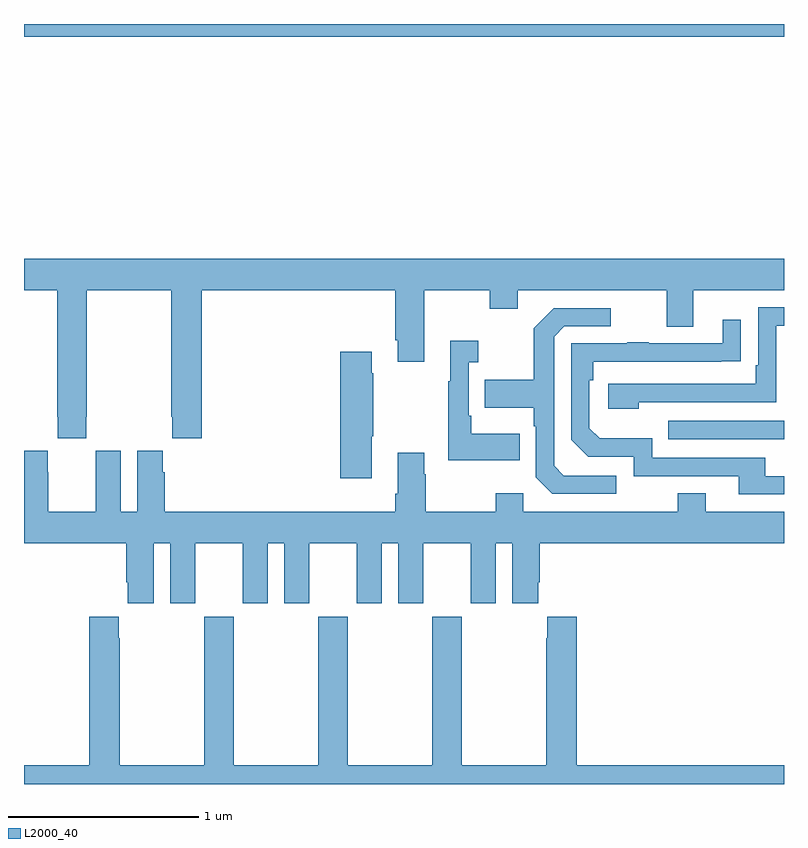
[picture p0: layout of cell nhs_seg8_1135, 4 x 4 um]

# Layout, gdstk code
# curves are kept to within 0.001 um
import gdstk
lib = gdstk.Library(unit=1e-6, precision=1e-09)
def R(c, l, rs):  # rectangles x0, y0, x1, y1
    for r in rs: c.add(gdstk.rectangle(r[:2], r[2:], *l))
def P(c, l, *ps):  # polygons
    for p in ps: c.add(gdstk.Polygon(p, *l))
L2000_40 = (2000, 40)

nhs_seg8_1135 = lib.new_cell('nhs_seg8_1135')
R(nhs_seg8_1135, L2000_40, [(186.391,1115.715,187,1115.811), (183,1117.832,187,1117.9)])
P(nhs_seg8_1135, L2000_40, [(183.327,1115.833),(183.33,1115.833),(183.33,1116.5),(183.775,1116.5),(183.775,1115.833),(183.781,1115.833),(183.781,1115.721),(183.935,1115.721),(183.935,1116.5),(184.955,1116.5),(184.955,1116.235),(184.967,1116.235),(184.967,1116.123),(185.107,1116.123),(185.107,1116.5),(185.452,1116.5),(185.452,1116.401),(185.599,1116.401),(185.599,1116.5),(186.383,1116.5),(186.383,1116.306),(186.523,1116.306),(186.523,1116.5),(187,1116.5),(187,1116.664),(183,1116.664),(183,1116.5),(183.175,1116.5),(183.175,1115.833),(183.177,1115.833),(183.177,1115.721),(183.327,1115.721)],
  [(186.236,1115.91),(186.96,1115.91),(186.96,1116.312),(187,1116.312),(187,1116.408),(186.864,1116.408),(186.864,1116.103),(186.851,1116.103),(186.851,1116.006),(186.075,1116.006),(186.075,1115.876),(186.236,1115.876)],
  [(186.118,1115.523),(185.841,1115.523),(185.79,1115.574),(185.79,1116.255),(185.844,1116.309),(186.088,1116.309),(186.088,1116.405),(185.787,1116.405),(185.682,1116.299),(185.682,1116.027),(185.425,1116.027),(185.425,1115.879),(185.682,1115.879),(185.682,1115.783),(185.694,1115.783),(185.694,1115.514),(185.781,1115.427),(186.118,1115.427)],
  [(187,1115.52),(186.901,1115.52),(186.901,1115.616),(186.306,1115.616),(186.306,1115.719),(186.029,1115.719),(185.976,1115.772),(185.976,1116.026),(185.996,1116.026),(185.996,1116.123),(186.773,1116.124),(186.773,1116.343),(186.677,1116.343),(186.677,1116.219),(186.287,1116.219),(186.287,1116.224),(186.175,1116.224),(186.175,1116.219),(185.88,1116.219),(185.88,1115.712),(185.97,1115.622),(186.21,1115.622),(186.21,1115.52),(186.761,1115.52),(186.761,1115.424),(187,1115.424)],
  [(185.609,1115.743),(185.353,1115.743),(185.353,1115.839),(185.34,1115.839),(185.34,1116.119),(185.392,1116.119),(185.392,1116.232),(185.243,1116.232),(185.243,1116.019),(185.232,1116.019),(185.232,1115.603),(185.609,1115.603)],
  [(184.831,1115.731),(184.839,1115.731),(184.839,1116.062),(184.831,1116.062),(184.831,1116.175),(184.664,1116.175),(184.664,1115.508),(184.831,1115.508)],
  [(183.682,1115.168),(183.77,1115.168),(183.77,1114.851),(183.901,1114.851),(183.901,1115.168),(184.151,1115.168),(184.151,1114.851),(184.282,1114.851),(184.282,1115.168),(184.37,1115.168),(184.37,1114.851),(184.501,1114.851),(184.501,1115.168),(184.751,1115.168),(184.751,1114.851),(184.882,1114.851),(184.882,1115.168),(184.97,1115.168),(184.97,1114.851),(185.101,1114.851),(185.101,1115.168),(185.351,1115.168),(185.351,1114.851),(185.482,1114.851),(185.482,1115.168),(185.57,1115.168),(185.57,1114.851),(185.707,1114.851),(185.707,1114.963),(185.714,1114.963),(185.714,1115.168),(187,1115.168),(187,1115.332),(186.589,1115.332),(186.589,1115.431),(186.442,1115.431),(186.442,1115.332),(185.628,1115.332),(185.628,1115.431),(185.482,1115.431),(185.482,1115.332),(185.115,1115.332),(185.115,1115.531),(185.107,1115.531),(185.107,1115.644),(184.967,1115.644),(184.967,1115.428),(184.955,1115.428),(184.955,1115.332),(183.74,1115.332),(183.74,1115.54),(183.73,1115.54),(183.73,1115.653),(183.596,1115.653),(183.596,1115.332),(183.508,1115.332),(183.508,1115.653),(183.378,1115.653),(183.378,1115.54),(183.377,1115.54),(183.377,1115.332),(183.127,1115.332),(183.127,1115.54),(183.126,1115.54),(183.126,1115.653),(183,1115.653),(183,1115.168),(183.539,1115.168),(183.539,1114.963),(183.545,1114.963),(183.545,1114.851),(183.682,1114.851)],
  [(187,1114),(185.909,1114),(185.909,1114.78),(185.753,1114.78),(185.753,1114.667),(185.749,1114.667),(185.749,1114),(185.304,1114),(185.304,1114.78),(185.149,1114.78),(185.149,1114),(184.704,1114),(184.704,1114.78),(184.549,1114.78),(184.549,1114),(184.104,1114),(184.104,1114.78),(183.949,1114.78),(183.949,1114),(183.504,1114),(183.504,1114.667),(183.499,1114.667),(183.499,1114.78),(183.344,1114.78),(183.344,1114),(183,1114),(183,1113.9),(187,1113.9)])

lib.write_gds('nhs_seg8_1135.gds')
